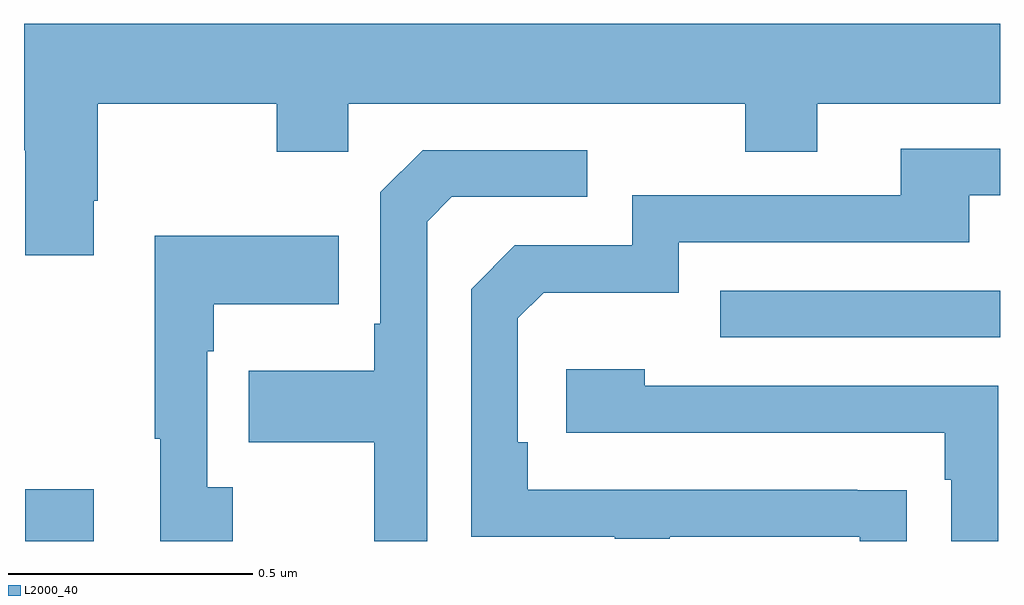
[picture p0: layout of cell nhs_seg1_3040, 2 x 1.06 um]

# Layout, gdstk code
import gdstk
lib = gdstk.Library(unit=1e-6, precision=1e-09)
def R(c, l, rs):  # rectangles x0, y0, x1, y1
    for r in rs: c.add(gdstk.rectangle(r[:2], r[2:], *l))
def P(c, l, *ps):  # polygons
    for p in ps: c.add(gdstk.Polygon(p, *l))
L2000_40 = (2000, 40)

nhs_seg1_3040 = lib.new_cell('nhs_seg1_3040')
R(nhs_seg1_3040, L2000_40, [(149.003,520.199,149.143,520.306), (150.427,520.617,151,520.713)])
P(nhs_seg1_3040, L2000_40, [(149.143,520.897),(149.151,520.897),(149.151,521.096),(149.518,521.096),(149.518,520.997),(149.664,520.997),(149.664,521.096),(150.478,521.096),(150.478,520.997),(150.625,520.997),(150.625,521.096),(151,521.096),(151,521.26),(149,521.26),(149,521),(149.003,521),(149.003,520.785),(149.143,520.785)],
  [(150.809,520.304),(150.707,520.304),(150.707,520.305),(150.032,520.305),(150.032,520.402),(150.012,520.402),(150.012,520.656),(150.065,520.709),(150.342,520.709),(150.342,520.812),(150.937,520.812),(150.937,520.908),(151,520.908),(151,521.004),(150.797,521.004),(150.797,520.908),(150.246,520.908),(150.246,520.806),(150.006,520.806),(149.916,520.716),(149.916,520.209),(150.211,520.209),(150.211,520.204),(150.323,520.204),(150.323,520.209),(150.713,520.209),(150.713,520.199),(150.809,520.199)],
  [(149.826,520.854),(149.877,520.905),(150.154,520.905),(150.154,521.001),(149.817,521.001),(149.73,520.914),(149.73,520.645),(149.718,520.645),(149.718,520.549),(149.461,520.549),(149.461,520.402),(149.718,520.402),(149.718,520.199),(149.826,520.199)],
  [(149.428,520.31),(149.376,520.31),(149.376,520.589),(149.389,520.589),(149.389,520.685),(149.645,520.685),(149.645,520.825),(149.268,520.825),(149.268,520.409),(149.279,520.409),(149.279,520.199),(149.428,520.199)],
  [(150.996,520.518),(150.272,520.518),(150.272,520.552),(150.111,520.552),(150.111,520.422),(150.887,520.422),(150.887,520.325),(150.9,520.325),(150.9,520.199),(150.996,520.199)])

lib.write_gds('nhs_seg1_3040.gds')
